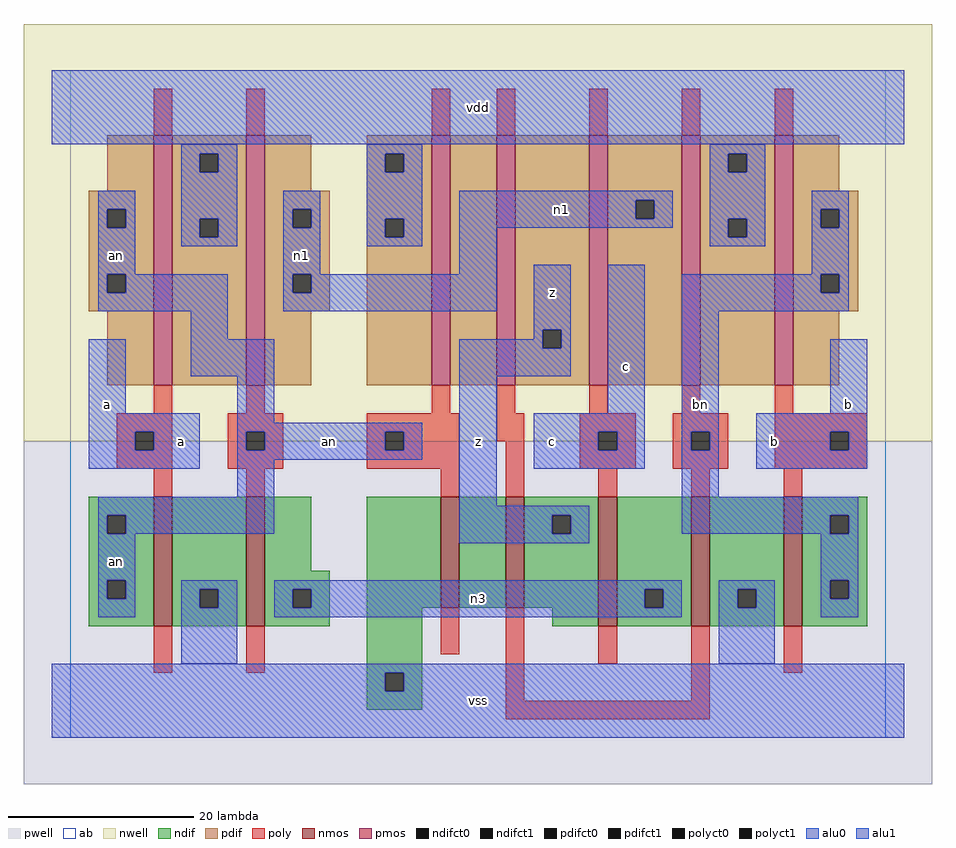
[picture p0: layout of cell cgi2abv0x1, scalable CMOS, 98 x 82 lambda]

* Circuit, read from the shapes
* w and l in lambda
.subckt cgi2abv0x1 a an b bn c n1 n3 vdd vss z
M1 vss a an VSUBS nfet w=14 l=2
M2 n3 an vss VSUBS nfet w=14 l=2
M3 n2 an vss VSUBS nfet w=12 l=2
M4 z bn n2 VSUBS nfet w=12 l=2
M5 n3 c z VSUBS nfet w=14 l=2
M6 vss bn n3 VSUBS nfet w=14 l=2
M7 bn b vss VSUBS nfet w=14 l=2
M8 vdd a an n4 pfet w=27 l=2
M9 n1 an vdd n4 pfet w=27 l=2
M10 n5 an vdd n4 pfet w=27 l=2
M11 z bn n5 n4 pfet w=27 l=2
M12 n1 c z n4 pfet w=27 l=2
M13 vdd bn n1 n4 pfet w=27 l=2
M14 bn b vdd n4 pfet w=27 l=2
.ends

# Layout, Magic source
magic
tech scmos
<< ab >>
rect 0 0 88 72
<< nwell >>
rect -5 32 93 77
<< pwell >>
rect -5 -5 93 32
<< poly >>
rect 9 65 11 70
rect 19 65 21 70
rect 39 65 41 70
rect 46 65 48 70
rect 56 65 58 70
rect 66 65 68 70
rect 76 65 78 70
rect 9 35 11 38
rect 19 35 21 38
rect 39 35 41 38
rect 46 35 48 38
rect 56 35 58 38
rect 66 35 68 38
rect 76 35 78 38
rect 5 33 11 35
rect 5 31 7 33
rect 9 31 11 33
rect 5 29 11 31
rect 17 33 23 35
rect 17 31 19 33
rect 21 31 23 33
rect 17 29 23 31
rect 32 33 42 35
rect 32 31 34 33
rect 36 31 42 33
rect 46 32 49 35
rect 32 29 42 31
rect 9 26 11 29
rect 19 26 21 29
rect 40 26 42 29
rect 47 26 49 32
rect 55 33 61 35
rect 55 31 57 33
rect 59 31 61 33
rect 55 29 61 31
rect 65 33 71 35
rect 65 31 67 33
rect 69 31 71 33
rect 65 29 71 31
rect 76 33 86 35
rect 76 31 82 33
rect 84 31 86 33
rect 76 29 86 31
rect 57 26 59 29
rect 67 26 69 29
rect 77 26 79 29
rect 9 7 11 12
rect 19 7 21 12
rect 40 9 42 14
rect 47 4 49 14
rect 57 8 59 12
rect 67 4 69 12
rect 77 7 79 12
rect 47 2 69 4
<< ndif >>
rect 2 24 9 26
rect 2 22 4 24
rect 6 22 9 24
rect 2 17 9 22
rect 2 15 4 17
rect 6 15 9 17
rect 2 12 9 15
rect 11 16 19 26
rect 11 14 14 16
rect 16 14 19 16
rect 11 12 19 14
rect 21 18 26 26
rect 21 16 28 18
rect 21 14 24 16
rect 26 14 28 16
rect 21 12 28 14
rect 32 14 40 26
rect 42 14 47 26
rect 49 24 57 26
rect 49 22 52 24
rect 54 22 57 24
rect 49 14 57 22
rect 32 7 38 14
rect 32 5 34 7
rect 36 5 38 7
rect 32 3 38 5
rect 52 12 57 14
rect 59 16 67 26
rect 59 14 62 16
rect 64 14 67 16
rect 59 12 67 14
rect 69 16 77 26
rect 69 14 72 16
rect 74 14 77 16
rect 69 12 77 14
rect 79 24 86 26
rect 79 22 82 24
rect 84 22 86 24
rect 79 17 86 22
rect 79 15 82 17
rect 84 15 86 17
rect 79 12 86 15
<< pdif >>
rect 4 59 9 65
rect 2 57 9 59
rect 2 55 4 57
rect 6 55 9 57
rect 2 50 9 55
rect 2 48 4 50
rect 6 48 9 50
rect 2 46 9 48
rect 4 38 9 46
rect 11 63 19 65
rect 11 61 14 63
rect 16 61 19 63
rect 11 56 19 61
rect 11 54 14 56
rect 16 54 19 56
rect 11 38 19 54
rect 21 59 26 65
rect 32 63 39 65
rect 32 61 34 63
rect 36 61 39 63
rect 21 57 28 59
rect 21 55 24 57
rect 26 55 28 57
rect 21 50 28 55
rect 21 48 24 50
rect 26 48 28 50
rect 21 46 28 48
rect 32 56 39 61
rect 32 54 34 56
rect 36 54 39 56
rect 21 38 26 46
rect 32 38 39 54
rect 41 38 46 65
rect 48 44 56 65
rect 48 42 51 44
rect 53 42 56 44
rect 48 38 56 42
rect 58 58 66 65
rect 58 56 61 58
rect 63 56 66 58
rect 58 38 66 56
rect 68 63 76 65
rect 68 61 71 63
rect 73 61 76 63
rect 68 56 76 61
rect 68 54 71 56
rect 73 54 76 56
rect 68 38 76 54
rect 78 59 83 65
rect 78 57 85 59
rect 78 55 81 57
rect 83 55 85 57
rect 78 50 85 55
rect 78 48 81 50
rect 83 48 85 50
rect 78 46 85 48
rect 78 38 83 46
<< alu1 >>
rect -2 64 90 72
rect 50 44 54 51
rect 50 43 51 44
rect 2 35 6 43
rect 2 33 14 35
rect 2 31 7 33
rect 9 31 14 33
rect 2 29 14 31
rect 42 42 51 43
rect 53 42 54 44
rect 42 39 54 42
rect 42 25 46 39
rect 58 35 62 51
rect 50 33 62 35
rect 50 31 57 33
rect 59 31 62 33
rect 50 29 62 31
rect 82 35 86 43
rect 74 33 86 35
rect 74 31 82 33
rect 84 31 86 33
rect 74 29 86 31
rect 42 24 56 25
rect 42 22 52 24
rect 54 22 56 24
rect 42 21 56 22
rect -2 7 90 8
rect -2 5 34 7
rect 36 5 90 7
rect -2 0 90 5
<< nmos >>
rect 9 12 11 26
rect 19 12 21 26
rect 40 14 42 26
rect 47 14 49 26
rect 57 12 59 26
rect 67 12 69 26
rect 77 12 79 26
<< pmos >>
rect 9 38 11 65
rect 19 38 21 65
rect 39 38 41 65
rect 46 38 48 65
rect 56 38 58 65
rect 66 38 68 65
rect 76 38 78 65
<< polyct0 >>
rect 19 31 21 33
rect 34 31 36 33
rect 67 31 69 33
<< polyct1 >>
rect 7 31 9 33
rect 57 31 59 33
rect 82 31 84 33
<< ndifct0 >>
rect 4 22 6 24
rect 4 15 6 17
rect 14 14 16 16
rect 24 14 26 16
rect 62 14 64 16
rect 72 14 74 16
rect 82 22 84 24
rect 82 15 84 17
<< ndifct1 >>
rect 52 22 54 24
rect 34 5 36 7
<< pdifct0 >>
rect 4 55 6 57
rect 4 48 6 50
rect 14 61 16 63
rect 14 54 16 56
rect 34 61 36 63
rect 24 55 26 57
rect 24 48 26 50
rect 34 54 36 56
rect 61 56 63 58
rect 71 61 73 63
rect 71 54 73 56
rect 81 55 83 57
rect 81 48 83 50
<< pdifct1 >>
rect 51 42 53 44
<< alu0 >>
rect 12 63 18 64
rect 12 61 14 63
rect 16 61 18 63
rect 3 57 7 59
rect 3 55 4 57
rect 6 55 7 57
rect 3 50 7 55
rect 12 56 18 61
rect 32 63 38 64
rect 32 61 34 63
rect 36 61 38 63
rect 12 54 14 56
rect 16 54 18 56
rect 12 53 18 54
rect 23 57 27 59
rect 23 55 24 57
rect 26 55 27 57
rect 23 50 27 55
rect 32 56 38 61
rect 69 63 75 64
rect 69 61 71 63
rect 73 61 75 63
rect 32 54 34 56
rect 36 54 38 56
rect 32 53 38 54
rect 42 58 65 59
rect 42 56 61 58
rect 63 56 65 58
rect 42 55 65 56
rect 69 56 75 61
rect 42 50 46 55
rect 69 54 71 56
rect 73 54 75 56
rect 69 53 75 54
rect 80 57 84 59
rect 80 55 81 57
rect 83 55 84 57
rect 3 48 4 50
rect 6 48 17 50
rect 3 46 17 48
rect 23 48 24 50
rect 26 48 46 50
rect 23 46 46 48
rect 13 43 17 46
rect 13 39 22 43
rect 18 34 22 39
rect 18 33 38 34
rect 18 31 19 33
rect 21 31 34 33
rect 36 31 38 33
rect 18 30 38 31
rect 18 26 22 30
rect 3 24 22 26
rect 3 22 4 24
rect 6 22 22 24
rect 80 50 84 55
rect 66 48 81 50
rect 83 48 84 50
rect 66 46 84 48
rect 66 33 70 46
rect 66 31 67 33
rect 69 31 70 33
rect 66 26 70 31
rect 66 24 85 26
rect 66 22 82 24
rect 84 22 85 24
rect 3 17 7 22
rect 81 17 85 22
rect 3 15 4 17
rect 6 15 7 17
rect 3 13 7 15
rect 12 16 18 17
rect 12 14 14 16
rect 16 14 18 16
rect 12 8 18 14
rect 22 16 66 17
rect 22 14 24 16
rect 26 14 62 16
rect 64 14 66 16
rect 22 13 66 14
rect 70 16 76 17
rect 70 14 72 16
rect 74 14 76 16
rect 70 8 76 14
rect 81 15 82 17
rect 84 15 85 17
rect 81 13 85 15
<< labels >>
rlabel alu0 5 19 5 19 6 an
rlabel alu0 5 52 5 52 6 an
rlabel alu0 28 32 28 32 6 an
rlabel alu0 25 52 25 52 6 n1
rlabel alu0 44 15 44 15 6 n3
rlabel alu0 68 36 68 36 6 bn
rlabel alu0 53 57 53 57 6 n1
rlabel alu1 12 32 12 32 6 a
rlabel alu1 4 36 4 36 6 a
rlabel alu1 44 4 44 4 6 vss
rlabel alu1 44 32 44 32 6 z
rlabel alu1 52 32 52 32 6 c
rlabel alu1 60 40 60 40 6 c
rlabel alu1 52 48 52 48 6 z
rlabel alu1 44 68 44 68 6 vdd
rlabel alu1 76 32 76 32 6 b
rlabel alu1 84 36 84 36 6 b
<< end >>
